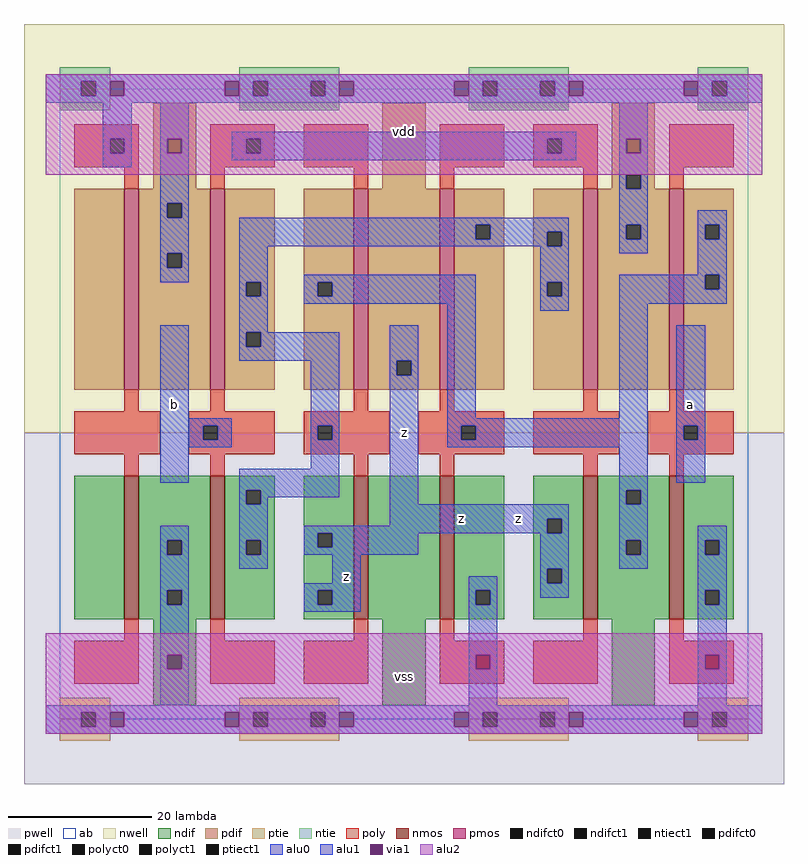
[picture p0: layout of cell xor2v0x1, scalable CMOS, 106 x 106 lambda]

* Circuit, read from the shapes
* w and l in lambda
.subckt xor2v0x1 a b vdd vss z
M1 vss vdd n1 vss nfet w=20 l=2
M2 n2 b vss vss nfet w=20 l=2
M3 n3 n2 z vss nfet w=20 l=2
M4 vss n4 n3 vss nfet w=20 l=2
M5 n4 b z vss nfet w=20 l=2
M6 vss a n4 vss nfet w=20 l=2
M7 vdd vdd n5 vdd pfet w=28 l=2
M8 n2 b vdd vdd pfet w=28 l=2 m=2
M9 z n2 n4 vdd pfet w=28 l=2
M10 n2 n4 z vdd pfet w=28 l=2
M11 n4 a vdd vdd pfet w=28 l=2
.ends

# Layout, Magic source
magic
tech scmos
<< ab >>
rect 0 0 96 88
<< nwell >>
rect -5 40 101 97
<< pwell >>
rect -5 -9 101 40
<< poly >>
rect 2 81 11 83
rect 2 79 7 81
rect 9 79 11 81
rect 2 77 11 79
rect 9 74 11 77
rect 21 81 30 83
rect 21 79 26 81
rect 28 79 30 81
rect 21 77 30 79
rect 34 77 43 83
rect 21 74 23 77
rect 41 74 43 77
rect 53 77 62 83
rect 66 81 75 83
rect 66 79 68 81
rect 70 79 75 81
rect 66 77 75 79
rect 53 74 55 77
rect 73 74 75 77
rect 85 77 94 83
rect 85 74 87 77
rect 9 43 11 46
rect 21 43 23 46
rect 41 43 43 46
rect 53 43 55 46
rect 73 43 75 46
rect 85 43 87 46
rect 2 37 14 43
rect 18 41 30 43
rect 18 39 20 41
rect 22 39 30 41
rect 18 37 30 39
rect 34 41 46 43
rect 34 39 36 41
rect 38 39 46 41
rect 34 37 46 39
rect 50 41 62 43
rect 50 39 56 41
rect 58 39 62 41
rect 50 37 62 39
rect 66 37 78 43
rect 82 41 94 43
rect 82 39 87 41
rect 89 39 94 41
rect 82 37 94 39
rect 9 34 11 37
rect 21 34 23 37
rect 41 34 43 37
rect 53 34 55 37
rect 73 34 75 37
rect 85 34 87 37
rect 9 11 11 14
rect 2 5 11 11
rect 21 11 23 14
rect 41 11 43 14
rect 21 5 30 11
rect 34 5 43 11
rect 53 11 55 14
rect 73 11 75 14
rect 53 5 62 11
rect 66 5 75 11
rect 85 11 87 14
rect 85 5 94 11
<< ndif >>
rect 2 14 9 34
rect 11 25 21 34
rect 11 23 15 25
rect 17 23 21 25
rect 11 18 21 23
rect 11 16 15 18
rect 17 16 21 18
rect 11 14 21 16
rect 23 32 30 34
rect 23 30 26 32
rect 28 30 30 32
rect 23 25 30 30
rect 23 23 26 25
rect 28 23 30 25
rect 23 14 30 23
rect 34 26 41 34
rect 34 24 36 26
rect 38 24 41 26
rect 34 18 41 24
rect 34 16 36 18
rect 38 16 41 18
rect 34 14 41 16
rect 43 14 53 34
rect 55 18 62 34
rect 55 16 58 18
rect 60 16 62 18
rect 55 14 62 16
rect 66 28 73 34
rect 66 26 68 28
rect 70 26 73 28
rect 66 21 73 26
rect 66 19 68 21
rect 70 19 73 21
rect 66 14 73 19
rect 75 32 85 34
rect 75 30 79 32
rect 81 30 85 32
rect 75 25 85 30
rect 75 23 79 25
rect 81 23 85 25
rect 75 14 85 23
rect 87 25 94 34
rect 87 23 90 25
rect 92 23 94 25
rect 87 18 94 23
rect 87 16 90 18
rect 92 16 94 18
rect 87 14 94 16
rect 13 2 19 14
rect 45 2 51 14
rect 77 2 83 14
<< pdif >>
rect 13 74 19 86
rect 45 74 51 86
rect 77 76 83 86
rect 77 74 79 76
rect 81 74 83 76
rect 2 46 9 74
rect 11 72 21 74
rect 11 70 15 72
rect 17 70 21 72
rect 11 65 21 70
rect 11 63 15 65
rect 17 63 21 65
rect 11 46 21 63
rect 23 61 30 74
rect 23 59 26 61
rect 28 59 30 61
rect 23 54 30 59
rect 23 52 26 54
rect 28 52 30 54
rect 23 46 30 52
rect 34 61 41 74
rect 34 59 36 61
rect 38 59 41 61
rect 34 46 41 59
rect 43 50 53 74
rect 43 48 47 50
rect 49 48 53 50
rect 43 46 53 48
rect 55 69 62 74
rect 55 67 58 69
rect 60 67 62 69
rect 55 46 62 67
rect 66 68 73 74
rect 66 66 68 68
rect 70 66 73 68
rect 66 61 73 66
rect 66 59 68 61
rect 70 59 73 61
rect 66 46 73 59
rect 75 69 85 74
rect 75 67 79 69
rect 81 67 85 69
rect 75 46 85 67
rect 87 69 94 74
rect 87 67 90 69
rect 92 67 94 69
rect 87 62 94 67
rect 87 60 90 62
rect 92 60 94 62
rect 87 46 94 60
<< alu1 >>
rect -2 89 98 90
rect -2 87 3 89
rect 5 87 7 89
rect 9 87 23 89
rect 25 87 27 89
rect 29 87 35 89
rect 37 87 39 89
rect 41 87 55 89
rect 57 87 59 89
rect 61 87 67 89
rect 69 87 71 89
rect 73 87 87 89
rect 89 87 91 89
rect 93 87 98 89
rect -2 86 98 87
rect 6 81 10 86
rect 6 79 7 81
rect 9 79 10 81
rect 6 77 10 79
rect 14 81 18 86
rect 14 79 15 81
rect 17 79 18 81
rect 14 72 18 79
rect 78 81 82 86
rect 78 79 79 81
rect 81 79 82 81
rect 14 70 15 72
rect 17 70 18 72
rect 78 76 82 79
rect 78 74 79 76
rect 81 74 82 76
rect 14 65 18 70
rect 14 63 15 65
rect 17 63 18 65
rect 14 61 18 63
rect 14 33 18 55
rect 46 50 50 55
rect 46 48 47 50
rect 49 48 50 50
rect 14 25 18 27
rect 14 23 15 25
rect 17 23 18 25
rect 14 18 18 23
rect 46 30 50 48
rect 78 69 82 74
rect 78 67 79 69
rect 81 67 82 69
rect 78 65 82 67
rect 86 41 90 55
rect 86 39 87 41
rect 89 39 90 41
rect 86 33 90 39
rect 46 28 71 30
rect 46 27 68 28
rect 34 26 68 27
rect 70 26 71 28
rect 34 24 36 26
rect 38 24 50 26
rect 34 23 50 24
rect 38 19 42 23
rect 67 21 71 26
rect 89 25 93 27
rect 89 23 90 25
rect 92 23 93 25
rect 14 16 15 18
rect 17 16 18 18
rect 14 9 18 16
rect 34 18 42 19
rect 34 16 36 18
rect 38 16 42 18
rect 34 15 42 16
rect 57 18 61 20
rect 57 16 58 18
rect 60 16 61 18
rect 67 19 68 21
rect 70 19 71 21
rect 67 17 71 19
rect 89 18 93 23
rect 14 7 15 9
rect 17 7 18 9
rect 14 2 18 7
rect 57 9 61 16
rect 57 7 58 9
rect 60 7 61 9
rect 57 2 61 7
rect 89 16 90 18
rect 92 16 93 18
rect 89 9 93 16
rect 89 7 90 9
rect 92 7 93 9
rect 89 2 93 7
rect -2 1 98 2
rect -2 -1 3 1
rect 5 -1 7 1
rect 9 -1 23 1
rect 25 -1 27 1
rect 29 -1 35 1
rect 37 -1 39 1
rect 41 -1 55 1
rect 57 -1 59 1
rect 61 -1 67 1
rect 69 -1 71 1
rect 73 -1 87 1
rect 89 -1 91 1
rect 93 -1 98 1
rect -2 -2 98 -1
<< alu2 >>
rect -2 89 98 90
rect -2 87 7 89
rect 9 87 23 89
rect 25 87 39 89
rect 41 87 55 89
rect 57 87 71 89
rect 73 87 87 89
rect 89 87 98 89
rect -2 81 98 87
rect -2 79 15 81
rect 17 79 79 81
rect 81 79 98 81
rect -2 76 98 79
rect -2 9 98 12
rect -2 7 15 9
rect 17 7 58 9
rect 60 7 90 9
rect 92 7 98 9
rect -2 1 98 7
rect -2 -1 7 1
rect 9 -1 23 1
rect 25 -1 39 1
rect 41 -1 55 1
rect 57 -1 71 1
rect 73 -1 87 1
rect 89 -1 98 1
rect -2 -2 98 -1
<< ptie >>
rect 0 1 7 3
rect 0 -1 3 1
rect 5 -1 7 1
rect 0 -3 7 -1
rect 25 1 39 3
rect 25 -1 27 1
rect 29 -1 35 1
rect 37 -1 39 1
rect 25 -3 39 -1
rect 57 1 71 3
rect 57 -1 59 1
rect 61 -1 67 1
rect 69 -1 71 1
rect 57 -3 71 -1
rect 89 1 96 3
rect 89 -1 91 1
rect 93 -1 96 1
rect 89 -3 96 -1
<< ntie >>
rect 0 89 7 91
rect 0 87 3 89
rect 5 87 7 89
rect 0 85 7 87
rect 25 89 39 91
rect 25 87 27 89
rect 29 87 35 89
rect 37 87 39 89
rect 25 85 39 87
rect 57 89 71 91
rect 57 87 59 89
rect 61 87 67 89
rect 69 87 71 89
rect 57 85 71 87
rect 89 89 96 91
rect 89 87 91 89
rect 93 87 96 89
rect 89 85 96 87
<< nmos >>
rect 9 14 11 34
rect 21 14 23 34
rect 41 14 43 34
rect 53 14 55 34
rect 73 14 75 34
rect 85 14 87 34
<< pmos >>
rect 9 46 11 74
rect 21 46 23 74
rect 41 46 43 74
rect 53 46 55 74
rect 73 46 75 74
rect 85 46 87 74
<< polyct0 >>
rect 26 79 28 81
rect 68 79 70 81
rect 20 39 22 41
rect 36 39 38 41
rect 56 39 58 41
<< polyct1 >>
rect 7 79 9 81
rect 87 39 89 41
<< ndifct0 >>
rect 26 30 28 32
rect 26 23 28 25
rect 79 30 81 32
rect 79 23 81 25
<< ndifct1 >>
rect 15 23 17 25
rect 15 16 17 18
rect 36 24 38 26
rect 36 16 38 18
rect 58 16 60 18
rect 68 26 70 28
rect 68 19 70 21
rect 90 23 92 25
rect 90 16 92 18
<< ntiect1 >>
rect 3 87 5 89
rect 27 87 29 89
rect 35 87 37 89
rect 59 87 61 89
rect 67 87 69 89
rect 91 87 93 89
<< ptiect1 >>
rect 3 -1 5 1
rect 27 -1 29 1
rect 35 -1 37 1
rect 59 -1 61 1
rect 67 -1 69 1
rect 91 -1 93 1
<< pdifct0 >>
rect 26 59 28 61
rect 26 52 28 54
rect 36 59 38 61
rect 58 67 60 69
rect 68 66 70 68
rect 68 59 70 61
rect 90 67 92 69
rect 90 60 92 62
<< pdifct1 >>
rect 79 74 81 76
rect 15 70 17 72
rect 15 63 17 65
rect 47 48 49 50
rect 79 67 81 69
<< alu0 >>
rect 24 81 72 82
rect 24 79 26 81
rect 28 79 68 81
rect 70 79 72 81
rect 24 78 72 79
rect 25 69 71 70
rect 25 67 58 69
rect 60 68 71 69
rect 60 67 68 68
rect 25 66 68 67
rect 70 66 71 68
rect 25 61 29 66
rect 25 59 26 61
rect 28 59 29 61
rect 25 54 29 59
rect 34 61 58 62
rect 34 59 36 61
rect 38 59 58 61
rect 34 58 58 59
rect 25 52 26 54
rect 28 52 39 54
rect 25 50 39 52
rect 18 41 24 42
rect 18 39 20 41
rect 22 39 24 41
rect 18 38 24 39
rect 35 41 39 50
rect 35 39 36 41
rect 38 39 39 41
rect 35 35 39 39
rect 25 32 39 35
rect 25 30 26 32
rect 28 31 39 32
rect 28 30 29 31
rect 25 25 29 30
rect 54 42 58 58
rect 67 61 71 66
rect 89 69 93 71
rect 89 67 90 69
rect 92 67 93 69
rect 89 62 93 67
rect 67 59 68 61
rect 70 59 71 61
rect 67 57 71 59
rect 78 60 90 62
rect 92 60 93 62
rect 78 58 93 60
rect 78 42 82 58
rect 54 41 82 42
rect 54 39 56 41
rect 58 39 82 41
rect 54 38 82 39
rect 78 32 82 38
rect 78 30 79 32
rect 81 30 82 32
rect 25 23 26 25
rect 28 23 29 25
rect 25 21 29 23
rect 78 25 82 30
rect 78 23 79 25
rect 81 23 82 25
rect 78 21 82 23
<< via1 >>
rect 7 87 9 89
rect 23 87 25 89
rect 39 87 41 89
rect 55 87 57 89
rect 71 87 73 89
rect 87 87 89 89
rect 15 79 17 81
rect 79 79 81 81
rect 15 7 17 9
rect 58 7 60 9
rect 90 7 92 9
rect 7 -1 9 1
rect 23 -1 25 1
rect 39 -1 41 1
rect 55 -1 57 1
rect 71 -1 73 1
rect 87 -1 89 1
<< labels >>
rlabel alu1 16 44 16 44 6 b
rlabel alu1 40 20 40 20 6 z
rlabel alu1 48 40 48 40 6 z
rlabel alu1 64 28 64 28 6 z
rlabel alu1 56 28 56 28 6 z
rlabel alu1 88 44 88 44 6 a
rlabel alu2 48 6 48 6 6 vss
rlabel alu2 48 82 48 82 6 vdd
<< end >>
